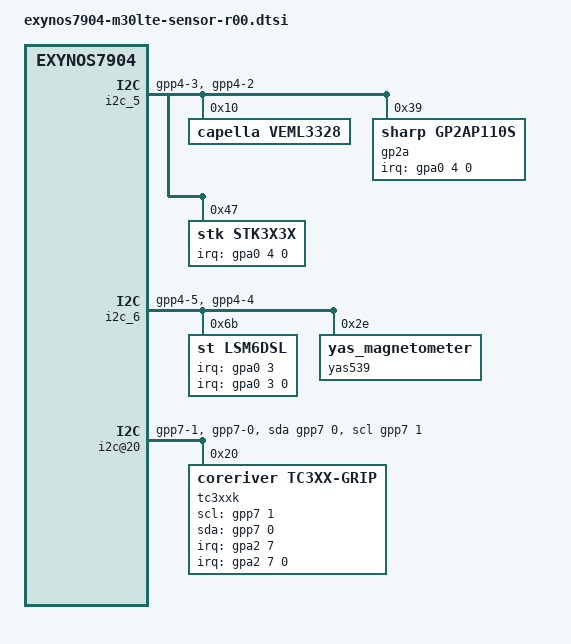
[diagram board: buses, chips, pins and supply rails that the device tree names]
/*
 * SAMSUNG UNIVERSAL7885 board device tree source
 *
 * Copyright (c) 2013 Samsung Electronics Co., Ltd.
 *		http://www.samsung.com
 *
 * This program is free software; you can redistribute it and/or modify
 * it under the terms of the GNU General Public License version 2 as
 * published by the Free Software Foundation.
 */

/ {
	
	pinctrl@11CB0000 {
		acc_int: acc_int {
			samsung,pins = "gpa0-3";
			samsung,pin-function = <0>;
			samsung,pin-pud = <0>;
			samsung,pin-drv = <0>;
		};

		grip_irq: grip-irq {
			samsung,pins = "gpa2-7";
			samsung,pin-function = <0xf>;
			samsung,pin-pud = <0>;
			samsung,pin-drv = <0>;
		};

		grip_input: grip-input {
			samsung,pins = "gpa2-7";
			samsung,pin-function = <0>;
			samsung,pin-pud = <0>;
			samsung,pin-drv = <0>;
		};
	};

	pinctrl@139B0000 {
		i2c5_bus: i2c5-bus {
			samsung,pins = "gpp4-3", "gpp4-2";
			samsung,pin-function = <2>;
			samsung,pin-pud = <0>;
			samsung,pin-drv = <0>;
		};

		i2c6_bus: i2c6-bus {
			samsung,pins = "gpp4-5", "gpp4-4";
			samsung,pin-function = <2>;
			samsung,pin-pud = <0>;
			samsung,pin-drv = <0>;
		};

		grip_i2c: grip-i2c {
			samsung,pins = "gpp7-1", "gpp7-0";
			samsung,pin-function = <2>;
			samsung,pin-pud = <0>;
			samsung,pin-drv = <0>;
		};

		grip_gpio: grip-gpio {
			samsung,pins = "gpp7-1", "gpp7-0";
			samsung,pin-function = <0>;
			samsung,pin-pud = <0>;
			samsung,pin-drv = <0>;
		};

		grip_en: grip-en {
			samsung,pins = "gpg1-6";
			samsung,pin-function = <1>;
			samsung,pin-pud = <0>;
			samsung,pin-val = <1>;
			samsung,pin-drv = <0>;
		};
	};

	i2c_5:i2c@13880000 {
		status = "okay";
		#address-cells = <1>;
		#size-cells = <0>;
		samsung,i2c-sda-delay = <100>;
		samsung,i2c-max-bus-freq = <400000>;
		pinctrl-names = "default";
		pinctrl-0 = <&i2c5_bus>;

		veml3328@10 {
			compatible = "capella,veml3328";
			reg = <0x10>;
		};

		gp2a@39 {
			compatible = "sharp,gp2ap110s";
			reg = <0x39>;
			interrupt-parent = <&gpa0>;
			interrupts = <4 0 0>;
			gp2ap110s,gpio_int = <&gpa0 4 0>;
		};

		stk@47 {
			compatible = "stk,stk3x3x";
			reg = <0x47>;
			interrupt-parent = <&gpa0>;
			interrupts = <4 0 0>;
			stk,gpio_int = <&gpa0 4 0>;
			stk,ps_thd_h = <1700>;
			stk,ps_thd_l = <1500>;
		};
	};

	i2c_6: i2c@13890000 {
		status = "okay";
		#address-cells = <1>;
		#size-cells = <0>;
		samsung,i2c-sda-delay = <100>;
		samsung,i2c-max-bus-freq = <400000>;
		pinctrl-names = "default";
		pinctrl-0 = <&i2c6_bus>;

		lsm6dsl@6b {
			compatible = "st,lsm6dsl";
			reg = <0x6b>;
			interrupt-parent = <&gpa0>;
			interrupts = <3 0 0>;
			st,irq_gpio = <&gpa0 3 0>;
			st,orientation = <0 1 1 1 2 1 1 1 2>;
		};

		yas539@2e {
			compatible = "yas_magnetometer";
			reg = <0x2e>;
			yas,orientation = <5>;
			yas,softiron = <9269 519 56 166 10815 162 765 413 10367>;
			yas,softiron_sign = <2 2 0 2 2 2 0 2 2>;
		};
	};

	i2c@20 {
		compatible = "i2c-gpio";
		gpios = <&gpp7 0 0
				&gpp7 1 0>;
		i2c-gpio,delay-us = <5>;
		pinctrl-names = "default","on_i2c","off_i2c";
		pinctrl-0 = <&grip_i2c>;
		pinctrl-1 = <&grip_i2c>;
		pinctrl-2 = <&grip_gpio>;
		#address-cells = <1>;
		#size-cells = <0>;
		status = "okay";
		tc3xxk@20 {
			compatible = "coreriver,tc3xx-grip";
			pinctrl-names = "default","on_irq","off_irq";
			pinctrl-0 = <&grip_irq &grip_en>;
			pinctrl-1 = <&grip_irq &grip_en>;
			pinctrl-2 = <&grip_input &grip_en>;
			reg = <0x20>;
			interrupts = <7 0 0>;
			interrupt-parent = <&gpa2>;
			coreriver,scl-gpio = <&gpp7 1 0>;
			coreriver,sda-gpio = <&gpp7 0 0>;
			coreriver,irq-gpio = <&gpa2 7 0>;
			coreriver,ldo_en = <&gpg1 6 0>;
			coreriver,i2c-gpio = "true";
			coreriver,boot-on-ldo = "true";
			coreriver,fw_name = "coreriver/tc305k_m20_grip.fw";
			coreriver,use_bitmap = <1>;
		};
	};
};
